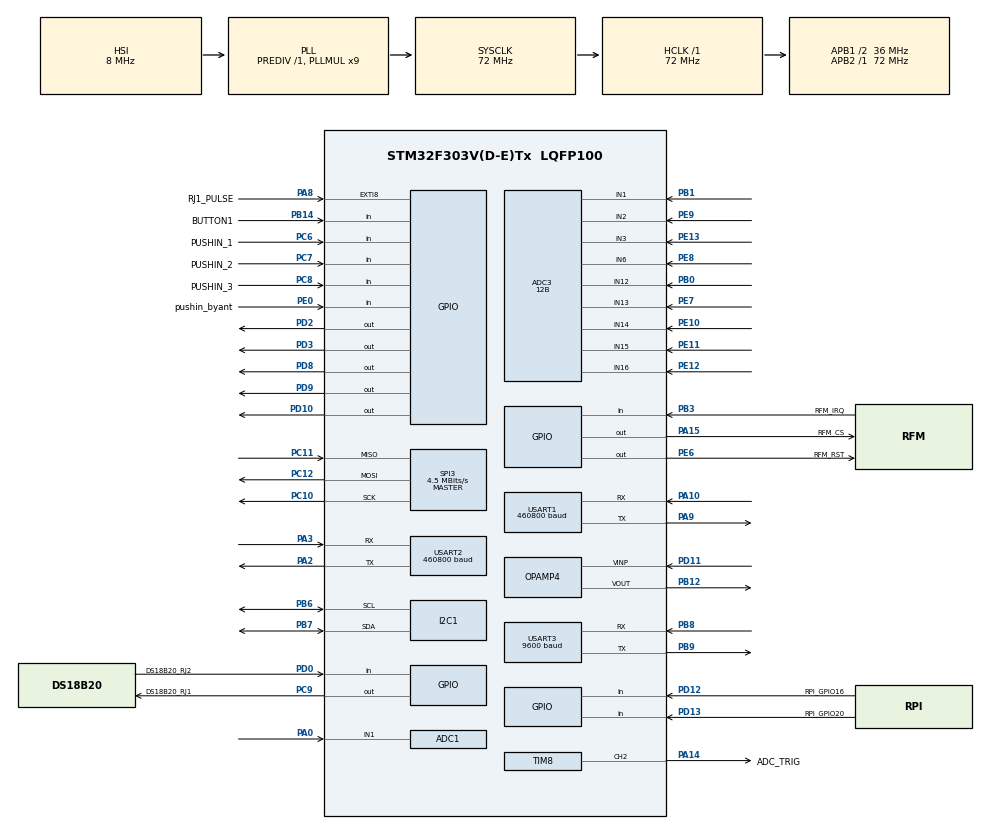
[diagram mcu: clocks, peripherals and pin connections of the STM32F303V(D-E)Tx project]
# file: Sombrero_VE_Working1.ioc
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ADC1.Channel-0\#ChannelRegularConversion=ADC_CHANNEL_1
ADC1.ClockPrescaler=ADC_CLOCK_SYNC_PCLK_DIV4
ADC1.ContinuousConvMode=ENABLE
ADC1.DMAContinuousRequests=ENABLE
ADC1.DataAlign=ADC_DATAALIGN_RIGHT
ADC1.DiscontinuousConvMode=DISABLE
ADC1.EOCSelection=ADC_EOC_SEQ_CONV
ADC1.EnableAnalogWatchDog1=false
ADC1.EnableAnalogWatchDog2=false
ADC1.EnableAnalogWatchDog3=false
ADC1.EnableInjectedConversion=DISABLE
ADC1.EnableRegularConversion=ENABLE
ADC1.ExternalTrigConv=ADC_EXTERNALTRIGCONV_T8_TRGO2
ADC1.ExternalTrigConvEdge=ADC_EXTERNALTRIGCONVEDGE_FALLING
ADC1.LowPowerAutoWait=DISABLE
ADC1.NbrOfConversion=1
ADC1.NbrOfConversionFlag=1
ADC1.Offset-0\#ChannelRegularConversion=0
ADC1.OffsetNumber-0\#ChannelRegularConversion=ADC_OFFSET_NONE
ADC1.Overrun=ADC_OVR_DATA_OVERWRITTEN
ADC1.Rank-0\#ChannelRegularConversion=1
ADC1.Resolution=ADC_RESOLUTION_12B
ADC1.SamplingTime-0\#ChannelRegularConversion=ADC_SAMPLETIME_181CYCLES_5
ADC1.ScanConvMode=ADC_SCAN_DISABLE
ADC1.master=1
ADC3.Channel-0\#ChannelRegularConversion=ADC_CHANNEL_12
ADC3.Channel-1\#ChannelRegularConversion=ADC_CHANNEL_1
ADC3.Channel-2\#ChannelRegularConversion=ADC_CHANNEL_13
ADC3.Channel-3\#ChannelRegularConversion=ADC_CHANNEL_6
ADC3.Channel-4\#ChannelRegularConversion=ADC_CHANNEL_2
ADC3.Channel-5\#ChannelRegularConversion=ADC_CHANNEL_14
ADC3.Channel-6\#ChannelRegularConversion=ADC_CHANNEL_15
ADC3.Channel-7\#ChannelRegularConversion=ADC_CHANNEL_16
ADC3.Channel-8\#ChannelRegularConversion=ADC_CHANNEL_3
ADC3.ClockPrescaler=ADC_CLOCK_SYNC_PCLK_DIV4
ADC3.ContinuousConvMode=ENABLE
ADC3.DMAContinuousRequests=ENABLE
ADC3.DataAlign=ADC_DATAALIGN_RIGHT
ADC3.DiscontinuousConvMode=DISABLE
ADC3.EOCSelection=ADC_EOC_SEQ_CONV
ADC3.EnableAnalogWatchDog1=false
ADC3.EnableAnalogWatchDog2=false
ADC3.EnableAnalogWatchDog3=false
ADC3.EnableInjectedConversion=DISABLE
ADC3.EnableRegularConversion=ENABLE
ADC3.ExternalTrigConv=ADC_EXTERNALTRIGCONV_T8_TRGO2
ADC3.ExternalTrigConvEdge=ADC_EXTERNALTRIGCONVEDGE_FALLING
ADC3.LowPowerAutoWait=DISABLE
ADC3.NbrOfConversion=9
ADC3.NbrOfConversionFlag=1
ADC3.Offset-0\#ChannelRegularConversion=0
ADC3.Offset-1\#ChannelRegularConversion=0
ADC3.Offset-2\#ChannelRegularConversion=0
ADC3.Offset-3\#ChannelRegularConversion=0
ADC3.Offset-4\#ChannelRegularConversion=0
ADC3.Offset-5\#ChannelRegularConversion=0
ADC3.Offset-6\#ChannelRegularConversion=0
ADC3.Offset-7\#ChannelRegularConversion=0
ADC3.Offset-8\#ChannelRegularConversion=0
ADC3.OffsetNumber-0\#ChannelRegularConversion=ADC_OFFSET_NONE
ADC3.OffsetNumber-1\#ChannelRegularConversion=ADC_OFFSET_NONE
ADC3.OffsetNumber-2\#ChannelRegularConversion=ADC_OFFSET_NONE
ADC3.OffsetNumber-3\#ChannelRegularConversion=ADC_OFFSET_NONE
ADC3.OffsetNumber-4\#ChannelRegularConversion=ADC_OFFSET_NONE
ADC3.OffsetNumber-5\#ChannelRegularConversion=ADC_OFFSET_NONE
ADC3.OffsetNumber-6\#ChannelRegularConversion=ADC_OFFSET_NONE
ADC3.OffsetNumber-7\#ChannelRegularConversion=ADC_OFFSET_NONE
ADC3.OffsetNumber-8\#ChannelRegularConversion=ADC_OFFSET_NONE
ADC3.Overrun=ADC_OVR_DATA_OVERWRITTEN
ADC3.Rank-0\#ChannelRegularConversion=1
ADC3.Rank-1\#ChannelRegularConversion=2
ADC3.Rank-2\#ChannelRegularConversion=3
ADC3.Rank-3\#ChannelRegularConversion=4
ADC3.Rank-4\#ChannelRegularConversion=5
ADC3.Rank-5\#ChannelRegularConversion=6
ADC3.Rank-6\#ChannelRegularConversion=7
ADC3.Rank-7\#ChannelRegularConversion=8
ADC3.Rank-8\#ChannelRegularConversion=9
ADC3.Resolution=ADC_RESOLUTION_12B
ADC3.SamplingTime-0\#ChannelRegularConversion=ADC_SAMPLETIME_181CYCLES_5
ADC3.SamplingTime-1\#ChannelRegularConversion=ADC_SAMPLETIME_181CYCLES_5
ADC3.SamplingTime-2\#ChannelRegularConversion=ADC_SAMPLETIME_181CYCLES_5
ADC3.SamplingTime-3\#ChannelRegularConversion=ADC_SAMPLETIME_181CYCLES_5
ADC3.SamplingTime-4\#ChannelRegularConversion=ADC_SAMPLETIME_181CYCLES_5
ADC3.SamplingTime-5\#ChannelRegularConversion=ADC_SAMPLETIME_181CYCLES_5
ADC3.SamplingTime-6\#ChannelRegularConversion=ADC_SAMPLETIME_181CYCLES_5
ADC3.SamplingTime-7\#ChannelRegularConversion=ADC_SAMPLETIME_181CYCLES_5
ADC3.SamplingTime-8\#ChannelRegularConversion=ADC_SAMPLETIME_181CYCLES_5
ADC3.ScanConvMode=ADC_SCAN_ENABLE
ADC3.master=1
ADC4.Channel-0\#ChannelRegularConversion=ADC_CHANNEL_VOPAMP4
ADC4.ClockPrescaler=ADC_CLOCK_SYNC_PCLK_DIV4
ADC4.ContinuousConvMode=ENABLE
ADC4.DMAContinuousRequests=ENABLE
ADC4.DataAlign=ADC_DATAALIGN_RIGHT
ADC4.DiscontinuousConvMode=DISABLE
ADC4.EOCSelection=ADC_EOC_SEQ_CONV
ADC4.EnableAnalogWatchDog1=false
ADC4.EnableAnalogWatchDog2=false
ADC4.EnableAnalogWatchDog3=false
ADC4.EnableInjectedConversion=DISABLE
ADC4.EnableRegularConversion=ENABLE
ADC4.ExternalTrigConv=ADC_EXTERNALTRIGCONV_T8_TRGO2
ADC4.ExternalTrigConvEdge=ADC_EXTERNALTRIGCONVEDGE_FALLING
ADC4.LowPowerAutoWait=DISABLE
ADC4.NbrOfConversion=1
ADC4.NbrOfConversionFlag=1
ADC4.Offset-0\#ChannelRegularConversion=0
ADC4.OffsetNumber-0\#ChannelRegularConversion=ADC_OFFSET_NONE
ADC4.Overrun=ADC_OVR_DATA_OVERWRITTEN
ADC4.Rank-0\#ChannelRegularConversion=1
ADC4.Resolution=ADC_RESOLUTION_12B
ADC4.SamplingTime-0\#ChannelRegularConversion=ADC_SAMPLETIME_181CYCLES_5
ADC4.ScanConvMode=ADC_SCAN_DISABLE
Dma.ADC1.5.Direction=DMA_PERIPH_TO_MEMORY
Dma.ADC1.5.Instance=DMA1_Channel1
Dma.ADC1.5.MemDataAlignment=DMA_MDATAALIGN_HALFWORD
Dma.ADC1.5.MemInc=DMA_MINC_ENABLE
Dma.ADC1.5.Mode=DMA_CIRCULAR
Dma.ADC1.5.PeriphDataAlignment=DMA_PDATAALIGN_HALFWORD
Dma.ADC1.5.PeriphInc=DMA_PINC_DISABLE
Dma.ADC1.5.Priority=DMA_PRIORITY_HIGH
Dma.ADC3.3.Direction=DMA_PERIPH_TO_MEMORY
Dma.ADC3.3.Instance=DMA2_Channel5
Dma.ADC3.3.MemDataAlignment=DMA_MDATAALIGN_HALFWORD
Dma.ADC3.3.MemInc=DMA_MINC_ENABLE
Dma.ADC3.3.Mode=DMA_CIRCULAR
Dma.ADC3.3.PeriphDataAlignment=DMA_PDATAALIGN_HALFWORD
Dma.ADC3.3.PeriphInc=DMA_PINC_DISABLE
Dma.ADC3.3.Priority=DMA_PRIORITY_HIGH
Dma.ADC4.4.Direction=DMA_PERIPH_TO_MEMORY
Dma.ADC4.4.Instance=DMA2_Channel2
Dma.ADC4.4.MemDataAlignment=DMA_MDATAALIGN_HALFWORD
Dma.ADC4.4.MemInc=DMA_MINC_ENABLE
Dma.ADC4.4.Mode=DMA_CIRCULAR
Dma.ADC4.4.PeriphDataAlignment=DMA_PDATAALIGN_HALFWORD
Dma.ADC4.4.PeriphInc=DMA_PINC_DISABLE
Dma.ADC4.4.Priority=DMA_PRIORITY_LOW
Dma.Request0=USART1_RX
Dma.Request1=USART1_TX
Dma.Request2=USART2_RX
Dma.Request3=ADC3
Dma.Request4=ADC4
Dma.Request5=ADC1
Dma.USART1_RX.0.Direction=DMA_PERIPH_TO_MEMORY
Dma.USART1_RX.0.Instance=DMA1_Channel5
Dma.USART1_RX.0.MemDataAlignment=DMA_MDATAALIGN_BYTE
Dma.USART1_RX.0.MemInc=DMA_MINC_ENABLE
Dma.USART1_RX.0.Mode=DMA_NORMAL
Dma.USART1_RX.0.PeriphDataAlignment=DMA_PDATAALIGN_BYTE
Dma.USART1_RX.0.PeriphInc=DMA_PINC_DISABLE
Dma.USART1_RX.0.Priority=DMA_PRIORITY_LOW
Dma.USART1_TX.1.Direction=DMA_MEMORY_TO_PERIPH
Dma.USART1_TX.1.Instance=DMA1_Channel4
Dma.USART1_TX.1.MemDataAlignment=DMA_MDATAALIGN_BYTE
Dma.USART1_TX.1.MemInc=DMA_MINC_ENABLE
Dma.USART1_TX.1.Mode=DMA_NORMAL
Dma.USART1_TX.1.PeriphDataAlignment=DMA_PDATAALIGN_BYTE
Dma.USART1_TX.1.PeriphInc=DMA_PINC_DISABLE
Dma.USART1_TX.1.Priority=DMA_PRIORITY_LOW
Dma.USART2_RX.2.Direction=DMA_PERIPH_TO_MEMORY
Dma.USART2_RX.2.Instance=DMA1_Channel6
Dma.USART2_RX.2.MemDataAlignment=DMA_MDATAALIGN_BYTE
Dma.USART2_RX.2.MemInc=DMA_MINC_ENABLE
Dma.USART2_RX.2.Mode=DMA_NORMAL
Dma.USART2_RX.2.PeriphDataAlignment=DMA_PDATAALIGN_BYTE
Dma.USART2_RX.2.PeriphInc=DMA_PINC_DISABLE
Dma.USART2_RX.2.Priority=DMA_PRIORITY_LOW
I2C1.OwnAddress=21
I2C1.Timing=0x10808DD3
Mcu.Family=STM32F3
Mcu.Name=STM32F303V(D-E)Tx
Mcu.Package=LQFP100
NVIC.ADC1_2_IRQn=true\:0\:0\:false\:false\:true\:true
NVIC.ADC3_IRQn=true\:0\:0\:false\:false\:true\:true
NVIC.ADC4_IRQn=true\:0\:0\:false\:false\:true\:true
NVIC.DMA1_Channel1_IRQn=true\:0\:0\:false\:false\:true\:false
NVIC.DMA1_Channel4_IRQn=true\:0\:0\:false\:false\:true\:false
NVIC.DMA1_Channel5_IRQn=true\:0\:0\:false\:false\:true\:false
NVIC.DMA1_Channel6_IRQn=true\:0\:0\:false\:false\:true\:false
NVIC.DMA2_Channel2_IRQn=true\:0\:0\:false\:false\:true\:false
NVIC.DMA2_Channel5_IRQn=true\:0\:0\:false\:false\:true\:false
NVIC.EXTI9_5_IRQn=true\:0\:0\:false\:false\:true\:true
NVIC.PriorityGroup=NVIC_PRIORITYGROUP_4
NVIC.TIM1_UP_TIM16_IRQn=true\:0\:0\:false\:false\:true\:true
NVIC.TIM8_TRG_COM_IRQn=true\:0\:0\:false\:false\:true\:true
NVIC.TIM8_UP_IRQn=true\:0\:0\:false\:false\:true\:true
NVIC.USART1_IRQn=true\:0\:0\:false\:false\:true\:true
NVIC.USART2_IRQn=true\:0\:0\:false\:false\:true\:true
OPAMP4.SelfCalibration=Disable
PA0.Mode=IN1-Single-Ended
PA0.Signal=ADC1_IN1
PA10.Mode=Asynchronous
PA10.Signal=USART1_RX
PA14.GPIO_Label=ADC_TRIG
PA14.Signal=S_TIM8_CH2
PA15.GPIO_Label=RFM_CS
PA15.GPIO_ModeDefaultOutputPP=GPIO_MODE_OUTPUT_PP
PA15.GPIO_PuPd=GPIO_NOPULL
PA15.GPIO_Speed=GPIO_SPEED_FREQ_HIGH
PA15.PinState=GPIO_PIN_SET
PA15.Signal=GPIO_Output
PA2.Mode=Asynchronous
PA2.Signal=USART2_TX
PA3.Mode=Asynchronous
PA3.Signal=USART2_RX
PA8.GPIO_Label=RJ1_PULSE
PA8.GPIO_PuPd=GPIO_PULLDOWN
PA8.Signal=GPXTI8
PA9.Mode=Asynchronous
PA9.Signal=USART1_TX
PB0.Mode=IN12-Single-Ended
PB0.Signal=ADC3_IN12
PB1.Mode=IN1-Single-Ended
PB1.Signal=ADC3_IN1
PB12.Mode=Follower
PB12.Signal=OPAMP4_VOUT
PB14.GPIO_Label=BUTTON1
PB14.Signal=GPIO_Input
PB3.GPIO_Label=RFM_IRQ
PB3.GPIO_PuPd=GPIO_NOPULL
PB3.Signal=GPIO_Input
PB6.Mode=I2C
PB6.Signal=I2C1_SCL
PB7.Mode=I2C
PB7.Signal=I2C1_SDA
PB8.Mode=Asynchronous
PB8.Signal=USART3_RX
PB9.Mode=Asynchronous
PB9.Signal=USART3_TX
PC10.Mode=Full_Duplex_Master
PC10.Signal=SPI3_SCK
PC11.Mode=Full_Duplex_Master
PC11.Signal=SPI3_MISO
PC12.Mode=Full_Duplex_Master
PC12.Signal=SPI3_MOSI
PC14-OSC32_IN.Mode=LSE-External-Oscillator
PC14-OSC32_IN.Signal=RCC_OSC32_IN
PC15-OSC32_OUT.Mode=LSE-External-Oscillator
PC15-OSC32_OUT.Signal=RCC_OSC32_OUT
PC6.GPIO_Label=PUSHIN_1
PC6.Signal=GPIO_Input
PC7.GPIO_Label=PUSHIN_2
PC7.Signal=GPIO_Input
PC8.GPIO_Label=PUSHIN_3
PC8.Signal=GPIO_Input
PC9.GPIO_Label=DS18B20_RJ1
PC9.Signal=GPIO_Output
PD0.GPIO_Label=DS18B20_RJ2
PD0.Signal=GPIO_Input
PD10.Signal=GPIO_Output
PD11.Mode=Follower
PD11.Signal=OPAMP4_VINP
PD12.GPIO_Label=RPI_GPIO16
PD12.GPIO_PuPd=GPIO_PULLDOWN
PD12.Signal=GPIO_Input
PD13.GPIO_Label=RPI_GPIO20
PD13.GPIO_PuPd=GPIO_PULLDOWN
PD13.Signal=GPIO_Input
PD2.Signal=GPIO_Output
PD3.Signal=GPIO_Output
PD8.Signal=GPIO_Output
PD9.Signal=GPIO_Output
PE0.GPIO_Label=pushin_byant
PE0.Signal=GPIO_Input
PE10.Mode=IN14-Single-Ended
PE10.Signal=ADC3_IN14
PE11.Mode=IN15-Single-Ended
PE11.Signal=ADC3_IN15
PE12.Mode=IN16-Single-Ended
PE12.Signal=ADC3_IN16
PE13.Mode=IN3-Single-Ended
PE13.Signal=ADC3_IN3
PE6.GPIO_Label=RFM_RST
PE6.PinState=GPIO_PIN_RESET
PE6.Signal=GPIO_Output
PE7.Mode=IN13-Single-Ended
PE7.Signal=ADC3_IN13
PE8.Signal=ADCx_IN6P
PE9.Mode=IN2-Single-Ended
PE9.Signal=ADC3_IN2
PF2.Signal=ADCx_IN10
ProjectManager.HeapSize=0x200
ProjectManager.StackSize=0x400
ProjectManager.TargetToolchain=Makefile
RCC.AHBFreq_Value=72000000
RCC.APB1CLKDivider=RCC_HCLK_DIV2
RCC.APB1Freq_Value=36000000
RCC.APB1TimFreq_Value=72000000
RCC.APB2Freq_Value=72000000
RCC.APB2TimFreq_Value=72000000
RCC.CortexFreq_Value=72000000
RCC.HCLKFreq_Value=72000000
RCC.HSE_VALUE=8000000
RCC.HSI_VALUE=8000000
RCC.I2c1ClockSelection=RCC_I2C1CLKSOURCE_SYSCLK
RCC.PLLMUL=RCC_PLL_MUL9
RCC.PRESCALERUSB=RCC_USBCLKSOURCE_PLL_DIV1_5
RCC.RTCClockSelection=RCC_RTCCLKSOURCE_LSE
RCC.SYSCLKFreq_VALUE=72000000
RCC.SYSCLKSourceVirtual=RCC_SYSCLKSOURCE_PLLCLK
RCC.USBFreq_Value=48000000
RCC.Uart4ClockSelection=RCC_UART4CLKSOURCE_SYSCLK
RCC.Usart1ClockSelection=RCC_USART1CLKSOURCE_SYSCLK
RCC.Usart2ClockSelection=RCC_USART2CLKSOURCE_SYSCLK
RCC.Usart3ClockSelection=RCC_USART3CLKSOURCE_SYSCLK
SH.ADCx_IN10.0=ADC1_IN10
SH.ADCx_IN6P.0=ADC3_IN6,IN6-Single-Ended
SH.S_TIM8_CH2.0=TIM8_CH2,PWM Generation2 CH2
SPI3.BaudRatePrescaler=SPI_BAUDRATEPRESCALER_8
SPI3.CalculateBaudRate=4.5 MBits/s
SPI3.DataSize=SPI_DATASIZE_8BIT
SPI3.Direction=SPI_DIRECTION_2LINES
SPI3.Mode=SPI_MODE_MASTER
SPI3.VirtualType=VM_MASTER
TIM16.AutoReloadPreload=TIM_AUTORELOAD_PRELOAD_DISABLE
TIM16.Period=9999
TIM16.Prescaler=710
TIM8.AutoReloadPreload=TIM_AUTORELOAD_PRELOAD_DISABLE
TIM8.AutomaticOutput=TIM_AUTOMATICOUTPUT_DISABLE
TIM8.Break2Polarity=TIM_BREAK2POLARITY_HIGH
TIM8.BreakPolarity=TIM_BREAKPOLARITY_HIGH
TIM8.Channel-PWM\ Generation2\ CH2=TIM_CHANNEL_2
TIM8.ClearChannel2=TIM_CHANNEL_2
TIM8.ClearInputSource=TIM_CLEARINPUTSOURCE_NONE
TIM8.OCFastMode_PWM-PWM\ Generation2\ CH2=TIM_OCFAST_DISABLE
TIM8.OCIdleState_2=TIM_OCIDLESTATE_RESET
TIM8.OCPolarity_2=TIM_OCPOLARITY_HIGH
TIM8.OffStateIDLEMode=TIM_OSSI_DISABLE
TIM8.OffStateRunMode=TIM_OSSR_DISABLE
TIM8.Period=9999
TIM8.Prescaler=71
TIM8.Pulse-PWM\ Generation2\ CH2=0
TIM8.TIM_MasterOutputTrigger2=TIM_TRGO2_OC2REF
USART1.BaudRate=460800
USART1.DMADisableonRxErrorParam=ADVFEATURE_DMA_DISABLEONRXERROR
USART1.VirtualMode-Asynchronous=VM_ASYNC
USART2.BaudRate=460800
USART2.DMADisableonRxErrorParam=ADVFEATURE_DMA_DISABLEONRXERROR
USART2.VirtualMode-Asynchronous=VM_ASYNC
USART3.BaudRate=9600
USART3.VirtualMode-Asynchronous=VM_ASYNC
VP_ADC4_OPAMP_INTERNAL4.Mode=IN-OPAMP4
VP_RTC_VS_RTC_Activate.Mode=RTC_Enabled
VP_TIM16_VS_ClockSourceINT.Mode=Enable_Timer
VP_TIM16_VS_OPM.Mode=OPM_bit
VP_TIM8_VS_OPM.Mode=OPM_bit
board=custom

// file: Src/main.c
/**
  ******************************************************************************
  * @file           : main.c
  * @brief          : Main program body
  ******************************************************************************
  ** This notice applies to any and all portions of this file
  * that are not between comment pairs USER CODE BEGIN and
  * USER CODE END. Other portions of this file, whether
  * inserted by the user or by software development tools
  * are owned by their respective copyright owners.
  *
  * COPYRIGHT(c) 2020 STMicroelectronics
  *
  * Redistribution and use in source and binary forms, with or without modification,
  * are permitted provided that the following conditions are met:
  *   1. Redistributions of source code must retain the above copyright notice,
  *      this list of conditions and the following disclaimer.
  *   2. Redistributions in binary form must reproduce the above copyright notice,
  *      this list of conditions and the following disclaimer in the documentation
  *      and/or other materials provided with the distribution.
  *   3. Neither the name of STMicroelectronics nor the names of its contributors
  *      may be used to endorse or promote products derived from this software
  *      without specific prior written permission.
  *
  * THIS SOFTWARE IS PROVIDED BY THE COPYRIGHT HOLDERS AND CONTRIBUTORS "AS IS"
  * AND ANY EXPRESS OR IMPLIED WARRANTIES, INCLUDING, BUT NOT LIMITED TO, THE
  * IMPLIED WARRANTIES OF MERCHANTABILITY AND FITNESS FOR A PARTICULAR PURPOSE ARE
  * DISCLAIMED. IN NO EVENT SHALL THE COPYRIGHT HOLDER OR CONTRIBUTORS BE LIABLE
  * FOR ANY DIRECT, INDIRECT, INCIDENTAL, SPECIAL, EXEMPLARY, OR CONSEQUENTIAL
  * DAMAGES (INCLUDING, BUT NOT LIMITED TO, PROCUREMENT OF SUBSTITUTE GOODS OR
  * SERVICES; LOSS OF USE, DATA, OR PROFITS; OR BUSINESS INTERRUPTION) HOWEVER
  * CAUSED AND ON ANY THEORY OF LIABILITY, WHETHER IN CONTRACT, STRICT LIABILITY,
  * OR TORT (INCLUDING NEGLIGENCE OR OTHERWISE) ARISING IN ANY WAY OUT OF THE USE
  * OF THIS SOFTWARE, EVEN IF ADVISED OF THE POSSIBILITY OF SUCH DAMAGE.
  *
  ******************************************************************************
  */
#include "main.h"
#include "stm32f3xx_hal.h"
#include "adc.h"
#include "dma.h"
#include "i2c.h"
#include "opamp.h"
#include "rtc.h"
#include "spi.h"
#include "tim.h"
#include "usart.h"
#include "gpio.h"

/* USER CODE BEGIN Includes */
#include <time.h>
#include <math.h>
#include <string.h>
#include <stdbool.h>
#include "jsmn.h"
#include "RFM69.h"
#include "RFM69_ext.h"
//#include "ds18b20.h"
/* USER CODE END Includes */

/* USER CODE BEGIN PV */
/* Private variables ---------------------------------------------------------*/

//--------
// MODES
//--------
// 0 = Standalone
// 1 = rPi
// 2 = ESP32
int mode = 1; // initialised as rPi mode for testing.

//------------------------------------------------
// timing, ADCs, power and frequency variables
//------------------------------------------------
#define MID_ADC_READING 2048
uint32_t posting_interval = 2500; // millis to post data at.
bool readings_ready = false;
bool readings_requested = false;
bool first_readings = false;
double V_RATIO;
double I_RATIO;
//uint16_t const adc_buff_half_size;
const double adc_conversion_time = (194.0*(1.0/(72000000.0/4))); // time in seconds for an ADC conversion, for estimating mains AC frequency.
//const double adc_conversion_time = (614.0*(1.0/(72000000.0/4))); // time in seconds for an ADC conversion, for estimating mains AC frequency.
//const double phase_resolution = (adc_conversion_time / (1.0/50.0)) * 360.0);
double mains_frequency;
static double Ws_accumulator[CTn] = {0};
//bool Vclipped; // unlikely?
//bool hunt_PF;

//------------------------
// Channel Accumulators
//------------------------
typedef struct channel_
{
  int64_t sum_P;
  uint64_t sum_V_sq;
  uint64_t sum_I_sq;
  int64_t sum_V;
  int64_t sum_I;
  uint32_t count;
  uint32_t cycles;
  uint32_t phase_shift;
  uint32_t positive_V;
  uint32_t last_positive_V;
  uint32_t Iclipped;
} channel_t; // data struct per CT channel, stm32 only does 32-bit struct items, anything else gets padded out to 32-bit automatically by

static channel_t channels[CTn] = {0};
static channel_t channels_ready[CTn] = {0};
bool channel_rdy_bools[CTn] = {0};

//----------------
// CALIBRATION
//----------------
const double VOLTS_PER_DIV = (3.3 / 4096.0);
//double VCAL = 266.1238757156; // note - single-phase proto board
//double VCAL = 224.4135906687; // note - 3-phase proto board
double VCAL = 236.660160908; // mascot ac-ac adaptor
double ICAL = 90.9;

//----------------
// PHASE CALIBRATION
//----------------
// Finite Impulse Response (FIR) filter-like Power Factor correction.
// based on setting the voltage phase per individual CT channel.
int hunt_PF[CTn] = {0}; // which channel are we hunting max power factor on?
// 0 = no power factor hunting.
// 1 = power factor hunt start.
// 2 = power factor hunt to the right. (increase VT lead).
// 3 = power factor hunt to the left. (increase VT lag).
// 4 = hunt finishing.
// 5 = hunt complete.
static int16_t phase_corrections[CTn] = {0};   // store of phase corrections per channel.
uint8_t phHunt_direction_changes = 0; // we're aiming for phase_correction_iteration_target.
static const int phHunt_direction_change_target = 5; // how many times will the phase hunt change direction?
double last_powerFactor[CTn]; // PF from previous readings.
double powerFactor_now[CTn];  // PF from most recent readings.
//bool pfhuntDone[CTn] = {0};

//------------------------
// UART SERIAL BUFFERS
//------------------------
extern char log_buffer[];
char rx_string[COMMAND_BUFFER_SIZE];
char string_buffer[200];
char readings_rdy_buffer[1000];

//----------------
// RADIO
//----------------
bool radio_send = 0; // set to 1 to send test data with RFM69.
static uint16_t networkID = 210; // a.k.a. Network Group
static uint8_t nodeID = 10; // this node's ID (address).
static uint16_t freqBand = 433; // MHz
static uint8_t toAddress = 1; // destination address.
bool requestACK = false; // untested.
static char encryptkey[20] = {'\0'}; // twenty character encrypt key, or  '\0'  for nothing.
//char encryptkey[20] = "asdfasdfasdfasdf"; // twenty character encrypt key, or  '\0'  for nothing.
typedef struct {
  uint32_t nodeId;
  uint32_t uptime;
  //double temperature;   // other data
} Payload;
Payload radioData;

//----------------
// Time variables
//----------------
uint32_t current_millis;
uint32_t previous_millis;

//----------------
// MISC
//----------------
static uint32_t pulseCount = 0;
extern char json_response[40];

/* USER CODE END PV */

void SystemClock_Config(void);

/* USER CODE BEGIN PFP */
/* Private function prototypes -----------------------------------------------*/

/* USER CODE END PFP */

/* USER CODE BEGIN 0 */

//------------------------
// EEPROM Emulation
//------------------------
// Credit to Viktor Vano for the Flash read/write code
// https://github.com/viktorvano/STM32F3Discovery_internal_FLASH

#define FLASH_STORAGE 0x08030000 // Maximum value for STM32F303xE is defined at line 111 of stm32f3xx_hal_flash_ex.h (0x0807FFFFU)
#define page_size 0x800

void save_to_flash(uint8_t *data)
{
	volatile uint32_t data_to_FLASH[(strlen((char*)data)/4)	+ (int)((strlen((char*)data) % 4) != 0)];
	memset((uint8_t*)data_to_FLASH, 0, strlen((char*)data_to_FLASH));
	strcpy((char*)data_to_FLASH, (char*)data);

	volatile uint32_t data_length = (strlen((char*)data_to_FLASH) / 4)
									+ (int)((strlen((char*)data_to_FLASH) % 4) != 0);
	volatile uint16_t pages = (strlen((char*)data)/page_size)
									+ (int)((strlen((char*)data)%page_size) != 0);
	  /* Unlock the Flash to enable the flash control register access *************/
	  HAL_FLASH_Unlock();

	  /* Allow Access to option bytes sector */
	  HAL_FLASH_OB_Unlock();

	  /* Fill EraseInit structure*/
	  FLASH_EraseInitTypeDef EraseInitStruct;
	  EraseInitStruct.TypeErase = FLASH_TYPEERASE_PAGES;
	  EraseInitStruct.PageAddress = FLASH_STORAGE;
	  EraseInitStruct.NbPages = pages;
	  uint32_t PageError;

	  volatile uint32_t write_cnt=0, index=0;

	  volatile HAL_StatusTypeDef status;
	  status = HAL_FLASHEx_Erase(&EraseInitStruct, &PageError);
	  while(index < data_length)
	  {
		  if (status == HAL_OK)
		  {
			  status = HAL_FLASH_Program(FLASH_TYPEPROGRAM_WORD, FLASH_STORAGE+write_cnt, data_to_FLASH[index]);
			  if(status == HAL_OK)
			  {
				  write_cnt += 4;
				  index++;
			  }
		  }
	  }

	  HAL_FLASH_OB_Lock();
	  HAL_FLASH_Lock();
}

void read_flash(uint8_t* data)
{
	volatile uint32_t read_data;
	volatile uint32_t read_cnt=0;
	do
	{
		read_data = *(uint32_t*)(FLASH_STORAGE + read_cnt);
		if(read_data != 0xFFFFFFFF)
		{
			data[read_cnt] = (uint8_t)read_data;
			data[read_cnt + 1] = (uint8_t)(read_data >> 8);
			data[read_cnt + 2] = (uint8_t)(read_data >> 16);
			data[read_cnt + 3] = (uint8_t)(read_data >> 24);
			read_cnt += 4;
		}
	}while(read_data != 0xFFFFFFFF);
}

//------------------------------------------
// Calculate Power Data for one Channel
//------------------------------------------
double Vrms;
double Irms;
double realPower;
double apparentPower;
double powerFactor;

void calcPower (int ch)
{
  channel_t *chn = &channels_ready[ch];

  double Vmean = (double)chn->sum_V / (double)chn->count;
  double Imean = (double)chn->sum_I / (double)chn->count;

  double f32sum_V_sq_avg = (double)chn->sum_V_sq / (double)chn->count;
  f32sum_V_sq_avg -= (Vmean * Vmean); // offset removal

  double f32sum_I_sq_avg = (double)chn->sum_I_sq / (double)chn->count;
  f32sum_I_sq_avg -= (Imean * Imean); // offset removal

  // assuming result of offset removal always positive.
  // small chance a negative result would cause a nan at sqrt.

  Vrms = V_RATIO * sqrt(f32sum_V_sq_avg);
  Irms = I_RATIO * sqrt(f32sum_I_sq_avg);

  double f32_sum_P_avg = (double)chn->sum_P / (double)chn->count;
  double mean_P = f32_sum_P_avg - (Vmean * Imean); // offset removal

  realPower = V_RATIO * I_RATIO * mean_P;
  apparentPower = Vrms * Irms;

  // calculate PF, is it necessary to prevent dividing by zero error?
  if (apparentPower != 0) { powerFactor = realPower / apparentPower; }
  else powerFactor = 0;

  Ws_accumulator[ch] += (realPower * (posting_interval / 1000.0));
}

//------------------------------------------
// FIR-type filter for phase correction.
//------------------------------------------
uint16_t highest_phase_correction = 0;
void set_highest_phase_correction(void) { // could be done after each correction routine instead.
  highest_phase_correction = 0; // reset.
  for (int i = 0; i < CTn; i++) {
    if (phase_corrections[i] > highest_phase_correction) highest_phase_correction = phase_corrections[i];
  }
}

bool check_dma_index_for_phase_correction(uint16_t offset) {
  // HAL_DELAY(1); // test
  uint16_t dma_counter_now = hdma_adc1.Instance->CNDTR;
  //sprintf(log_buffer, "dma_counter_now:%d, offset:%d, highest_correction:%d\r\n", dma_counter_now, offset, highest_phase_correction);
  //debug_printf(log_buffer); log_buffer[0] = 0;
  if (offset == 0) {
    if (adc_buff_half_size - dma_counter_now > highest_phase_correction) { return true; }
    else { return false; }
  }
  else if (offset == adc_buff_half_size) {
    if (adc_buff_size - dma_counter_now > highest_phase_correction) {return true; }
    else { return false; }
  }
  return false; // get rid of compiler warning.
}

int findmode(int a[],int n) { // https://www.tutorialspoint.com/learn_c_by_examples/mode_program_in_c.htm
   int maxValue = 0, maxCount = 0, i, j;
   for (i = 0; i < n; ++i) {
      int count = 0;
      for (j = 0; j < n; ++j) {
         if (a[j] == a[i])
         ++count;
      }
      if (count > maxCount) {
         maxCount = count;
         maxValue = a[i];
      }
   }
   if (maxCount < 3) debug_printf("No confident value found.\r\n");
   return maxValue;
}

int pf_median_array[5]; // stores the phase_corrections value at the point of switching direction.
int *pf_ptr = pf_median_array;
void pfHunt(int ch) {
  if (hunt_PF[ch] == 0) {
    __NOP();
  }
  else if (hunt_PF[ch] == true) { // start hunting one direction
    phase_corrections[ch]++; hunt_PF[ch]++;
    // print phase correction.
    sprintf(log_buffer, "PFstart++ | Setting phase_corrections[%d] to %d\r\n", ch, phase_corrections[ch]);
    //debug_printf(log_buffer); log_buffer[0] = '\0';
  }
  else if (hunt_PF[ch] == 2) { // continue this direction unless...
    sprintf(log_buffer, "PF_now:%.6lf | last_PF:%.6lf | phase_corrections[%d] was at %d, equal to %.2lf degrees phase shift.\r\n", powerFactor_now[ch], last_powerFactor[ch], ch, phase_corrections[ch], (360.0*((adc_conversion_time*phase_corrections[ch])/(1/mains_frequency)))); debug_printf(log_buffer); log_buffer[0] = '\0';
    if (powerFactor_now[ch] > last_powerFactor[ch]) phase_corrections[ch]++; // keep going forwards into the buffer
    else { hunt_PF[ch]++; phHunt_direction_changes++; phase_corrections[ch]--; *pf_ptr = phase_corrections[ch]; pf_ptr++; } // switch direction and start going backwards into the buffer
    // print phase correction.
    sprintf(log_buffer, "PF++ | Setting phase_corrections[%d] to %d. Switched direction %d times.\r\n", ch, phase_corrections[ch], phHunt_direction_changes);
    //debug_printf(log_buffer); log_buffer[0] = '\0';
    if (phHunt_direction_changes == phHunt_direction_change_target) hunt_PF[ch] = 4;
  }
  else if (hunt_PF[ch] == 3) { // hunt the other direction until...
    sprintf(log_buffer, "PF_now:%.6lf | last_PF:%.6lf | phase_corrections[%d] was at %d, equal to %.2lf degrees phase shift.\r\n", powerFactor_now[ch], last_powerFactor[ch], ch, phase_corrections[ch], (360.0*((adc_conversion_time*phase_corrections[ch])/(1/mains_frequency)))); debug_printf(log_buffer); log_buffer[0] = '\0';
    if (powerFactor_now[ch] > last_powerFactor[ch]) phase_corrections[ch]--; // keep going backwards into the buffer
    else { hunt_PF[ch]--; phHunt_direction_changes++; phase_corrections[ch]++; *pf_ptr = phase_corrections[ch]; pf_ptr++; } // switch direction and go forwards again into the buffer
    // print phase correction.
    sprintf(log_buffer, "PF-- | Setting phase_corrections[%d] to %d. Switched direction %d times.\r\n", ch, phase_corrections[ch], phHunt_direction_changes);
    //debug_printf(log_buffer); log_buffer[0] = '\0';
    if (phHunt_direction_changes == phHunt_direction_change_target) hunt_PF[ch] = 4;
  }
  else if (hunt_PF[ch] == 4) {
    // finish up...
    for (int i = 0; i < phHunt_direction_change_target; i++) { sprintf(log_buffer, "pf_median_array[%d] value was %d\r\n", i, pf_median_array[i]); debug_printf(log_buffer); }

    sprintf(log_buffer, "mode:%d\r\n", findmode(pf_median_array, phHunt_direction_change_target)); debug_printf(log_buffer); log_buffer[0] = '\0';

    phase_corrections[ch] = findmode(pf_median_array, phHunt_direction_change_target); // the result is set in phase_corrections[] for this channel now.

    sprintf(log_buffer, "Maximum PF found! phase_correction[%d] is at %d, equal to %.2lf degrees phase shift.\r\n", ch, phase_corrections[ch], (360.0*((adc_conversion_time*phase_corrections[ch])/(1/mains_frequency))));
    hunt_PF[ch] = 5;
  }
  set_highest_phase_correction(); // update the highest value.
}

//------------------------------------------
// Process Buffer into Accumulators.
//------------------------------------------
//bool hia = 0;
void process_frame (uint16_t offset)
{
  /* debugging
  if (!hia) {
    debug_printf("Hello! First process_frame!\r\n");
    hia =1;
  }
  */
  HAL_GPIO_WritePin(GPIOD, GPIO_PIN_10, GPIO_PIN_SET); // blink the led

  //set_highest_phase_correction(); // could be called after a phase correction routine instead.
  while (!check_dma_index_for_phase_correction(offset)) __NOP();

  int16_t sample_V, sample_I, signed_V, signed_I;

   // to hunt one adc_buffer_index per readings_ready, because it's only in readings_ready where PF is calc'd.
  /*
  sprintf(log_buffer, "adc_buff_half_size:%d\r\n", adc_buff_half_size);
  debug_printf(log_buffer);
  log_buffer[0] = '\0';
  */

  for (uint16_t i = 0; i < adc_buff_half_size; i += CTn) // CTn = CT channel quanity.
  {

    /* // debug buffer
    sprintf(log_buffer, "signed_v:%d\r\n", signed_V);
    debug_printf(log_buffer);
    log_buffer[0] = '\0';
    */

    //----------------------------------------
    // Power
    //----------------------------------------
    // Cycle through channels, accumulating
    for (int ch = 0; ch < CTn; ch++)
    {
      channel_t *channel = &channels[ch];
      //----------------------------------------
      // Voltage
      //----------------------------------------
      // phase correction could happen here to have higher resolution.
      // to shift voltage gives finer grained phase resolution in single-phase mode
      // because the voltage channel is used by all CTs.
      int16_t sample_V_index = offset + i + ch + phase_corrections[ch];
      // check for buffer overflow
      if (sample_V_index >= adc_buff_size) sample_V_index -= adc_buff_size;
      else if (sample_V_index < 0) sample_V_index += adc_buff_size;

      sample_V = adc1_dma_buff[sample_V_index];
      //if (sample_V == 4095) Vclipped = true; // unlikely
      signed_V = sample_V - MID_ADC_READING;
      channel->sum_V += signed_V;
      channel->sum_V_sq += signed_V * signed_V; // for Vrms
      //----------------------------------------
      // Current
      //----------------------------------------
      sample_I = adc3_dma_buff[offset + i + ch];
      if (sample_I == 4095) channel->Iclipped = true; // much more likely, useful safety information.
      signed_I = sample_I - MID_ADC_READING; // mid-rail removal possible through ADC4, option for future perhaps.
      channel->sum_I += signed_I; //
      channel->sum_I_sq += signed_I * signed_I; // for Irms
      //----------------------------------------
      // Power, instantaneous.
      //----------------------------------------
      channel->sum_P += signed_V * signed_I;

      channel->count++; // number of adc samples.

      //----------------------------------------
      // Upwards-zero-crossing detection, whole AC cycles.
      channel->last_positive_V = channel->positive_V; // retrieve the previous value.
      if (signed_V >= 0) { channel->positive_V = true; } // changed > to >= . not important as MID_ADC_READING 2048 not accurate anyway.
      else { channel->positive_V = false; }
      //--------------------------------------------------
      //--------------------------------------------------
      if (!channel->last_positive_V && channel->positive_V) { // looking out for a upwards-zero crossing.
        channel->cycles++; // rather than count cycles for readings_ready, better to have the main loop ask for them.
        // debug cycle count
        /*
        sprintf(log_buffer, "cycles%d:%ld\r\n", ch, channel->cycles);
        debug_printf(log_buffer);
        log_buffer[0] = '\0';
        */
        //----------------------------------------
        if (readings_requested && !channel_rdy_bools[ch]) { // if readings are needed by the main loop and channel is not copied/ready.
          channel_t *channel_ready = &channels_ready[ch];
          // copy accumulators for use in main loop.
          memcpy((void*)channel_ready, (void*)channel, sizeof(channel_t));
          // reset accumulators to zero.
          memset((void*)channel, 0, sizeof(channel_t));
          // follow through the state of positive_v so no extra AC cycle is erroneously counted.
          channel->positive_V = true;
          // set 'channel ready' for this channel.
          channel_rdy_bools[ch] = true;
          // are all the channels ready?
          int chn_ready_count = 0;
          for (int j = 0; j < CTn; j++) {
            if (channel_rdy_bools[j]) chn_ready_count++;
          }
          if (chn_ready_count == CTn) { readings_ready = true; readings_requested = false; }

          // test waveform sync. printed result should go from 1 to 9.
          /*
          sprintf(log_buffer, "channelsRdy:%d\r\n", chn_ready_count);
          debug_printf(log_buffer);
          log_buffer[0] = '\0';
          */
        }
      }
      //--------------------------------------------------
      //-------------------------------------------------- end zero-crossing.
    } // end per channel routine
  } // end buffer routine
  HAL_GPIO_WritePin(GPIOD, GPIO_PIN_10, GPIO_PIN_RESET);
} // end process_frame().

/* USER CODE END 0 */

int main(void)
{
  /* USER CODE BEGIN 1 */
  V_RATIO = VCAL * VOLTS_PER_DIV;
  I_RATIO = ICAL * VOLTS_PER_DIV;
  /* USER CODE END 1 */

  /* MCU Configuration----------------------------------------------------------*/

  /* Reset of all peripherals, Initializes the Flash interface and the Systick. */
  HAL_Init();

  /* Configure the system clock */
  SystemClock_Config();

  /* Initialize all configured peripherals */
  MX_GPIO_Init();
  MX_DMA_Init();
  MX_USART2_UART_Init();
  MX_OPAMP4_Init();
  MX_ADC3_Init();
  MX_TIM8_Init();
  MX_ADC1_Init();
  MX_USART1_UART_Init();
  MX_SPI3_Init();
  MX_TIM16_Init();
  MX_USART3_UART_Init();
  MX_I2C1_Init();
  MX_RTC_Init();
  MX_ADC4_Init();
  /* USER CODE BEGIN 2 */

  debug_printf("\r\n\r\nstart, connect VT\r\n");

  // RTC backup register test, 16 x 32-bit addresses available.
  // see stm32f3xx_hal_rtc_ex.c  line 1118 onwards.
  // uint32_t bkp_write = 123456789;
  // HAL_RTCEx_BKUPWrite(&hrtc, RTC_BKP_DR0, bkp_write);
  // uint32_t bkp_ = HAL_RTCEx_BKUPRead(&hrtc, RTC_BKP_DR0);
  // sprintf(log_buffer, "bkp_:%ld\r\n", bkp_);
  // works!

  //------------------------
  // EEPROM Emulation test
  //------------------------
  /*
  char write_data_pgm[50];
  strcpy(write_data_pgm, "Hellow from Flash Memory!\r\n");
  save_to_flash((uint8_t*) write_data_pgm);
  char read_data_pgm[50];
  read_flash((uint8_t*)read_data_pgm);
  debug_printf(read_data_pgm); // print result

  float write_float_pgm = 123.321f;
  float *pointer_write_float = &write_float_pgm;
  save_to_flash((uint8_t*)pointer_write_float);
  float read_float_pgm = 0.0;
  float *pointer_read_float = &read_float_pgm;
  read_flash((uint8_t*)pointer_read_float);
  //char log_buffer[20];
  sprintf(log_buffer, "Float value also read from flash memory! %.3f\r\n", read_float_pgm);
  debug_printf(log_buffer); log_buffer[0] = 0; // print result
  */

  //int test_array_mode[5] = {2,1,3,4,5};
  //sprintf(log_buffer, "test mode-finding: %d\r\n", findmode(test_array_mode, 5));
  //debug_printf(log_buffer); log_buffer[0] = 0; // print result
  // seems findmode() will return the first value of the array if no mode value is found.

  // is the rPi Connected?
  if (HAL_GPIO_ReadPin(RPI_GPIO16_GPIO_Port, RPI_GPIO16_Pin) == 1 && HAL_GPIO_ReadPin(RPI_GPIO20_GPIO_Port, RPI_GPIO20_Pin) == 1)
  {
    debug_printf("rPi connected!\r\n");
    mode = 1;
  }
  //------------------------
  // RADIO begin
  //------------------------
  RFM69_RST();
  HAL_Delay(10);
  if (RFM69_initialize(freqBand, nodeID, networkID))
  {
    sprintf(log_buffer, "RFM69 Initialized. Freq %dMHz. Node %d. Group %d.\r\n", freqBand, nodeID, networkID);
    debug_printf(log_buffer);
    log_buffer[0] = '\0';
    //RFM69_readAllRegs(); // debug output
  }
  else
  {
    debug_printf("RFM69 not connected.\r\n");
  }
  if (encryptkey[0] != '\0') // if we have a encryption key, radio encryption will be set.
  {
    RFM69_encrypt(encryptkey);
  }

  //------------------------
  // ADC BEGIN
  //------------------------
  HAL_ADCEx_Calibration_Start(&hadc1, ADC_SINGLE_ENDED);
  HAL_ADCEx_Calibration_Start(&hadc3, ADC_SINGLE_ENDED);
  //HAL_ADCEx_Calibration_Start(&hadc4, ADC_SINGLE_ENDED);
  HAL_Delay(2);
  HAL_OPAMP_Start(&hopamp4);
  HAL_Delay(2);
  start_ADCs();

  //init_ds18b20s();

  //------------------------
  // UART DMA RX BEGIN
  //------------------------
  __HAL_UART_ENABLE_IT(&huart1, UART_IT_IDLE);
  HAL_UART_Receive_DMA(&huart1, rx_buff, sizeof(rx_buff));
  __HAL_UART_ENABLE_IT(&huart2, UART_IT_IDLE);
  HAL_UART_Receive_DMA(&huart2, rx_buff, sizeof(rx_buff));

  // usart1_rx_flag = 1; testing

  debug_printf("\r\n");
  /* USER CODE END 2 */

  /* Infinite loop */
  /* USER CODE BEGIN WHILE */
  while (1)
  {
    current_millis = HAL_GetTick();

    // process_ds18b20s();

    //---------------------------------------
    // Interval for posting power readings.
    //---------------------------------------
    if (current_millis - previous_millis >= posting_interval) {

      uint32_t correction = current_millis - previous_millis - posting_interval;
      previous_millis = current_millis - correction;

      RTC_CalendarShow(aShowTime, aShowDate);
      debug_printf((char*)aShowDate); debug_printf("\r\n");
      debug_printf((char*)aShowTime); debug_printf("\r\n");

      if (readings_requested) debug_printf("No voltage waveform present\r\n");
      readings_requested = true;
    }

    //------------------------------------------------
    // ADC DMA buffer flags. Process Frames.
    //------------------------------------------------
    if (conv_hfcplt_flag)
    {
      conv_hfcplt_flag = false;
      process_frame(0); // process 1st half of buffer.
    }
    if (conv_cplt_flag)
    {
      conv_cplt_flag = false;
      process_frame(adc_buff_half_size); // process 2nd half of buffer.
    }
    // HAL_Delay(200); // ADC buffer overrun flag test.

    //------------------------------------------------
    // Check to post primary data.
    //------------------------------------------------
    if (readings_ready)
    {
      readings_ready = false; memset(channel_rdy_bools, 0, sizeof(channel_rdy_bools)); // clear flags.
      if (!first_readings) { first_readings = true; goto EndJump; } // discard the first set as beginning of 1st waveform not tracked.

      HAL_GPIO_WritePin(GPIOD, GPIO_PIN_9, GPIO_PIN_SET); // blink the led
      // HAL_GPIO_WritePin(GPIOD, GPIO_PIN_8, 1); HAL_TIM_Base_Start_IT(&htim16); // LED blink

      sprintf(readings_rdy_buffer, "STM:1.0,"); // initital write to buffer.
      //pfhuntDone[0] = false;
      for (int ch = 0; ch < CTn; ch++)
      {
        channel_t *chn = &channels_ready[ch];

        last_powerFactor[ch] = powerFactor_now[ch];
        calcPower(ch);
        powerFactor_now[ch] = powerFactor;
        pfHunt(ch);

        if (ch == 0) { // estimate mains_frequency on a single channel, no need for more.
          mains_frequency = 1.0/(((chn->count * CTn) / chn->cycles) * adc_conversion_time);
        }

        int _ch = ch + 1; // nicer looking channel numbers. 1 starts at 1 instead of 0.
        if (mode == 1 && ch == 0) {
          sprintf(string_buffer, "V%d:%.2lf,I%d:%.3lf,AP%d:%.1lf,RP%d:%.1lf,PF%d:%.6lf,Joules%d:%.3lf,Clip%d:%ld,cycles%d:%ld,samples%d:%ld,", _ch, Vrms, _ch, Irms, _ch, apparentPower, _ch, realPower, _ch, powerFactor, _ch, Ws_accumulator[ch], _ch, chn->Iclipped, _ch, chn->cycles, _ch, chn->count);
          strcat(readings_rdy_buffer, string_buffer);
        }
      }

      // Main frequency estimate.
      sprintf(string_buffer, "Hz_estimate:%.1f,", mains_frequency);
      if (mode == 1) strcat(readings_rdy_buffer, string_buffer);
      // Millis
      sprintf(string_buffer, "millis:%ld,", current_millis);
      if (mode == 1) strcat(readings_rdy_buffer, string_buffer);
      // Pulsecount
      sprintf(string_buffer, "PC:%ld,", pulseCount);
      if (mode == 1) strcat(readings_rdy_buffer, string_buffer);

      /*
      // get an average of the OPAMP4 ADC4 buffer.
      uint32_t ADC4_buff_accumulator = 0;
      for (int i = 0; i < sizeof(adc4_dma_buff); i++) {
        ADC4_buff_accumulator += adc4_dma_buff[i];
        //sprintf(log_buffer, "%d\r\n", adc4_dma_buff[i]);
        //debug_printf(log_buffer);
      }
      //log_buffer[0] = '\0';
      double ADC4_buff_avg = ADC4_buff_accumulator / sizeof(adc4_dma_buff);
      sprintf(string_buffer, "ADC4_avg:%.2f,", ADC4_buff_avg);
      if (mode == 1) strcat(readings_rdy_buffer, string_buffer);
      */

      // has the adc buffer overrun?
      sprintf(string_buffer, "buffOverrun:%d", overrun_adc_buffer);
      overrun_adc_buffer = 0; // reset
      if (mode == 1) strcat(readings_rdy_buffer, string_buffer);

      // close the string and add some whitespace for clarity.
      if (mode == 1) strcat(readings_rdy_buffer, "\r\n\r\n");

      // RFM69 send.
      if (radio_send) // sending data, test data only.
      {
        radioData.nodeId = nodeID;
        radioData.uptime = HAL_GetTick();
        HAL_GPIO_WritePin(GPIOD, GPIO_PIN_8, 1); HAL_TIM_Base_Start_IT(&htim16); // LED blink
        RFM69_send(toAddress, (const void *)(&radioData), sizeof(radioData), requestACK);
        //RFM69_sendWithRetry(toAddress, (const void *)(&radioData), sizeof(radioData), 3,20);
      }

      HAL_GPIO_WritePin(GPIOD, GPIO_PIN_9, GPIO_PIN_RESET);
    } EndJump: // end main readings_ready function.

    //-------------------------------
    // RFM69 Rx
    //-------------------------------
    if (RFM69_ReadDIO0Pin()) {
      debug_printf("RFM69 DIO0 high.\r\n");
      RFM69_interruptHandler();
    }
    if (RFM69_receiveDone()) {
      HAL_GPIO_WritePin(GPIOD, GPIO_PIN_8, 1); // LED blink
      HAL_TIM_Base_Start_IT(&htim16); // LED blink, interrupt based.
      // debug output below.
      debug_printf("RFM69 payload received.\r\n");
      PrintRawBytes();
      PrintStruct();
      PrintByteByByte();
    }

    //------------------------
    // UART Rx check
    //------------------------
    if (usart1_rx_flag)
    {
      usart1_rx_flag = 0;
      memcpy(rx_string, rx_buff, sizeof(rx_buff));
      memset(rx_buff, 0, sizeof(rx_buff));
      huart1.hdmarx->Instance->CCR &= ~DMA_CCR_EN;
      huart1.hdmarx->Instance->CNDTR = sizeof(rx_buff);
      huart1.hdmarx->Instance->CCR |= DMA_CCR_EN; // reset dma counter
      //json_parser("{G:RTC}"); // calling this loads json_response[] with a response.
      json_parser(rx_string); // calling this loads json_response[] with a response.
      sprintf(log_buffer, "{STM32:%s}\r\n", json_response);
    }
    if (usart2_rx_flag)
    {
      //-----
        //phase_corrections[0] = 13; // slap a value in there to test with.
        hunt_PF[0] = true; // test powerfactor hunting on CT1.
      //-----
      usart2_rx_flag = 0;
      memcpy(rx_string, rx_buff, sizeof(rx_buff));
      memset(rx_buff, 0, sizeof(rx_buff));
      huart2.hdmarx->Instance->CCR &= ~DMA_CCR_EN;
      huart2.hdmarx->Instance->CNDTR = sizeof(rx_buff);
      huart2.hdmarx->Instance->CCR |= DMA_CCR_EN; // reset dma counter
      json_parser(rx_string); // calling this loads json_response[] with a response.
      sprintf(log_buffer, "{STM32:%s}\r\n", json_response);
    }

    //-------------------------------
    // Print char buffers to serial.
    //-------------------------------
    if (log_buffer[0] != '\0') { // null terminated strings!
      rPi_printf(log_buffer);
      log_buffer[0] = '\0'; // set index of string to null to effectively delete the string.
      // https://stackoverflow.com/questions/632846/clearing-a-char-array-c
    }
    if (readings_rdy_buffer[0] != '\0') {
      rPi_printf(readings_rdy_buffer);
      readings_rdy_buffer[0] = '\0';
    }

  /* USER CODE END WHILE */

  }

}

void SystemClock_Config(void)
{

  RCC_OscInitTypeDef RCC_OscInitStruct;
  RCC_ClkInitTypeDef RCC_ClkInitStruct;
  RCC_PeriphCLKInitTypeDef PeriphClkInit;

    /**Configure LSE Drive Capability
    */
  HAL_PWR_EnableBkUpAccess();

  __HAL_RCC_LSEDRIVE_CONFIG(RCC_LSEDRIVE_LOW);

    /**Initializes the CPU, AHB and APB busses clocks
    */
  RCC_OscInitStruct.OscillatorType = RCC_OSCILLATORTYPE_HSI|RCC_OSCILLATORTYPE_LSE;
  RCC_OscInitStruct.LSEState = RCC_LSE_ON;
  RCC_OscInitStruct.HSIState = RCC_HSI_ON;
  RCC_OscInitStruct.HSICalibrationValue = 16;
  RCC_OscInitStruct.PLL.PLLState = RCC_PLL_ON;
  RCC_OscInitStruct.PLL.PLLSource = RCC_PLLSOURCE_HSI;
  RCC_OscInitStruct.PLL.PLLMUL = RCC_PLL_MUL9;
  RCC_OscInitStruct.PLL.PREDIV = RCC_PREDIV_DIV1;
  if (HAL_RCC_OscConfig(&RCC_OscInitStruct) != HAL_OK)
  {
    _Error_Handler(__FILE__, __LINE__);
  }

    /**Initializes the CPU, AHB and APB busses clocks
    */
  RCC_ClkInitStruct.ClockType = RCC_CLOCKTYPE_HCLK|RCC_CLOCKTYPE_SYSCLK
                              |RCC_CLOCKTYPE_PCLK1|RCC_CLOCKTYPE_PCLK2;
  RCC_ClkInitStruct.SYSCLKSource = RCC_SYSCLKSOURCE_PLLCLK;
  RCC_ClkInitStruct.AHBCLKDivider = RCC_SYSCLK_DIV1;
  RCC_ClkInitStruct.APB1CLKDivider = RCC_HCLK_DIV2;
  RCC_ClkInitStruct.APB2CLKDivider = RCC_HCLK_DIV1;

  if (HAL_RCC_ClockConfig(&RCC_ClkInitStruct, FLASH_LATENCY_2) != HAL_OK)
  {
    _Error_Handler(__FILE__, __LINE__);
  }

  PeriphClkInit.PeriphClockSelection = RCC_PERIPHCLK_USART1|RCC_PERIPHCLK_USART2
                              |RCC_PERIPHCLK_USART3|RCC_PERIPHCLK_I2C1
                              |RCC_PERIPHCLK_RTC|RCC_PERIPHCLK_TIM16
                              |RCC_PERIPHCLK_TIM8;
  PeriphClkInit.Usart1ClockSelection = RCC_USART1CLKSOURCE_SYSCLK;
  PeriphClkInit.Usart2ClockSelection = RCC_USART2CLKSOURCE_SYSCLK;
  PeriphClkInit.Usart3ClockSelection = RCC_USART3CLKSOURCE_SYSCLK;
  PeriphClkInit.I2c1ClockSelection = RCC_I2C1CLKSOURCE_SYSCLK;
  PeriphClkInit.RTCClockSelection = RCC_RTCCLKSOURCE_LSE;
  PeriphClkInit.Tim16ClockSelection = RCC_TIM16CLK_HCLK;
  PeriphClkInit.Tim8ClockSelection = RCC_TIM8CLK_HCLK;
  if (HAL_RCCEx_PeriphCLKConfig(&PeriphClkInit) != HAL_OK)
  {
    _Error_Handler(__FILE__, __LINE__);
  }

    /**Configure the Systick interrupt time
    */
  HAL_SYSTICK_Config(HAL_RCC_GetHCLKFreq()/1000);

    /**Configure the Systick
    */
  HAL_SYSTICK_CLKSourceConfig(SYSTICK_CLKSOURCE_HCLK);

  /* SysTick_IRQn interrupt configuration */
  HAL_NVIC_SetPriority(SysTick_IRQn, 0, 0);
}

/* USER CODE BEGIN 4 */
void HAL_GPIO_EXTI_Callback (uint16_t GPIO_Pin) {
  if (GPIO_Pin == RJ1_PULSE_Pin) {
    debug_printf("pulse!\r\n");
    pulseCount++;
  }
}

/* USER CODE END 4 */

void _Error_Handler(char *file, int line)
{
  /* USER CODE BEGIN Error_Handler_Debug */
  /* User can add his own implementation to report the HAL error return state */
  while (1)
  {
    sprintf(log_buffer, "sys_error:%s,line:%d\r\n", file, line);
    //debug_printf(log_buffer);
  }
  /* USER CODE END Error_Handler_Debug */
}

/************************ (C) COPYRIGHT STMicroelectronics *****END OF FILE****/
